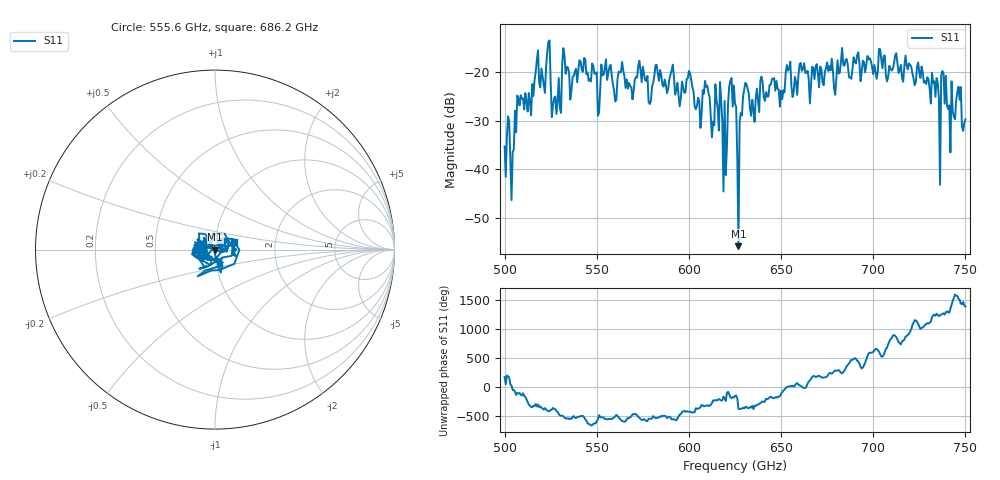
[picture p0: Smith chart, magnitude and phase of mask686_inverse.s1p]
!Created with skrf (http://scikit-rf.org).
# GHz S MA R 50.0
!freq magS11 angS11
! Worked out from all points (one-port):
!   401 points, 500 GHz to 750 GHz, reference 50 ohm
!   lowest |S11| = -55.9 dB at 626.9 GHz (marker M1), VSWR 1.00, Z = 50.2 - j0.0477 ohm
!   |S11| at or under -10 dB: start of sweep to end of sweep
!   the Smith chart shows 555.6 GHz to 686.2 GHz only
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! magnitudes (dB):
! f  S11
! 500 GHz  -35.3
! 504.4 GHz  -36.5
! 508.1 GHz  -26.9
! 513.1 GHz  -24.3
! 517.5 GHz  -17.5
! 523.8 GHz  -13.8
! 526.9 GHz  -25.4
! 531.2 GHz  -18.4
! 562.5 GHz  -20.1
! 593.8 GHz  -22.2
! 610 GHz  -22.8
! 612.5 GHz  -33.4
! 616.2 GHz  -32.1
! 619.4 GHz  -25.9
! 622.5 GHz  -21.8
! 625 GHz  -26.6
! 626.9 GHz  -55.9
! 630.6 GHz  -22.2
! 634.4 GHz  -25.7
! 656.2 GHz  -25.2
! 687.5 GHz  -21.1
! 718.8 GHz  -19.4
! 733.1 GHz  -21.9
! 735 GHz  -22.2
! 738.1 GHz  -20.3
! 743.1 GHz  -28.1
! 746.2 GHz  -23.0
! 750 GHz  -29.7
